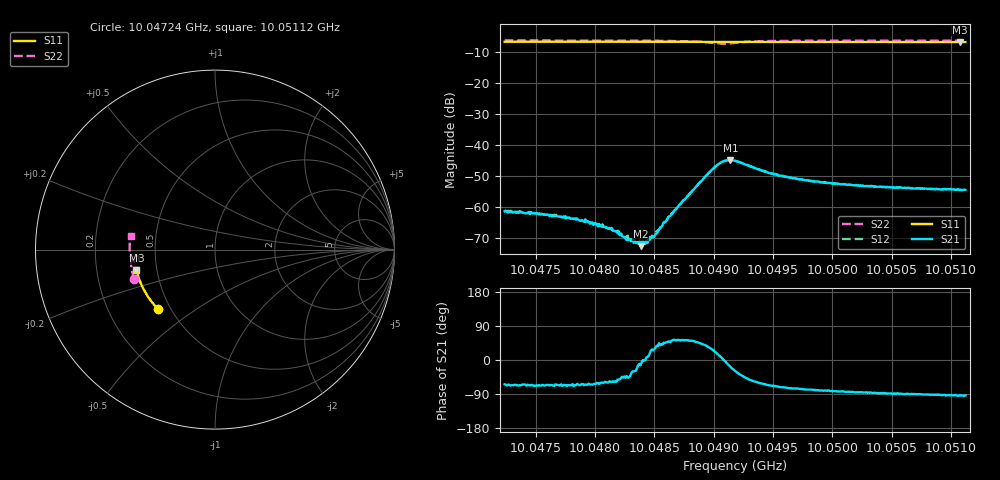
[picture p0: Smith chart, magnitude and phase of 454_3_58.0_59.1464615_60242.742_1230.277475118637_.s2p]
#  HZ  S  RI  R  50.00
! Rohde & Schwarz Vector Network Analyzer
! Rohde-Schwarz,ZNB20-2Port,1311601062101988,3.16
! Created: UTC 3/21/2024, 1:10:41 AM
! freq[Hz]  re:S11  im:S11  re:S21  im:S21  re:S12  im:S12  re:S22  im:S22
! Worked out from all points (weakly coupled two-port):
!   401 points, 10.04724 GHz to 10.05112 GHz, reference 50 ohm
!   highest |S21| = -44.91 dB at 10.04914 GHz (marker M1); lowest = -72.6 dB at 10.04838 GHz (marker M2)
!   lowest |S11| = -6.9 dB at 10.05107 GHz (marker M3), VSWR 2.65, Z = 19.1 - j5.52 ohm
!   |S11| at or under -10 dB: nowhere
!   |S22| runs from -7.4 to -6.4 dB; largest |S21 - S12| = 0.00042
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1.0047239e10  -0.3169 -0.3321  0.000372 -0.000767  0.000424 -0.000771  -0.4498 -0.1657
1.0047676e10  -0.3363 -0.311  0.000299 -0.000661  0.000347 -0.000664  -0.4584 -0.1373
1.0047889e10  -0.3454 -0.3  0.000275 -0.000546  0.000298 -0.000534  -0.4619 -0.1225
1.0048015e10  -0.3506 -0.2935  0.000266 -0.00047  0.000311 -0.000471  -0.4636 -0.1136
1.004818e10  -0.3573 -0.2849  0.000219 -0.000344  0.000257 -0.000318  -0.4658 -0.1017
1.0048268e10  -0.3607 -0.2803  0.000217 -0.000198  0.00025 -0.000201  -0.4668 -0.0952
1.0048307e10  -0.3622 -0.2783  0.000244 -0.000168  0.000233 -0.000155  -0.467 -0.0921
1.0048365e10  -0.3644 -0.2751  0.000252 -5.92e-05  0.000251 -5.8e-05  -0.4674 -0.0876
1.0048384e10  -0.3651 -0.2741  0.000228 -5.51e-05  0.000265 -3.3e-05  -0.4677 -0.0861
1.0048442e10  -0.3672 -0.2711  0.000261 3.8e-05  0.0003 7.56e-05  -0.4677 -0.0813
1.0048491e10  -0.3691 -0.2682  0.000302 0.000142  0.00028 0.000162  -0.4678 -0.0773
1.0048539e10  -0.3709 -0.2657  0.000312 0.000302  0.000312 0.000298  -0.4678 -0.0731
1.0048695e10  -0.3765 -0.2571  0.000594 0.000797  0.000573 0.000828  -0.4658 -0.0584
1.0048976e10  -0.386 -0.2411  0.00328 0.00191  0.0032 0.00212  -0.4401 -0.0331
1.0049064e10  -0.3886 -0.2363  0.0052 0.000652  0.00515 0.00097  -0.4243 -0.0424
1.0049141e10  -0.3911 -0.2321  0.00541 -0.00174  0.00554 -0.00137  -0.4256 -0.0604
1.004918e10  -0.3924 -0.23  0.00485 -0.00268  0.00503 -0.00235  -0.4322 -0.066
1.0049471e10  -0.4015 -0.2132  0.00138 -0.00324  0.00161 -0.00319  -0.4673 -0.0481
1.0049831e10  -0.4116 -0.1919  0.000534 -0.00254  0.000659 -0.00254  -0.4751 -0.0165
1.0050481e10  -0.4269 -0.152  5.79e-05 -0.00209  0.000185 -0.00207  -0.4753 0.0309
1.0051073e10  -0.4374 -0.1148  -9.76e-05 -0.00187  -1.07e-05 -0.00189  -0.4708 0.071
1.0051122e10  -0.4382 -0.1117  -0.000128 -0.00188  -8.16e-06 -0.0019  -0.4702 0.0744
